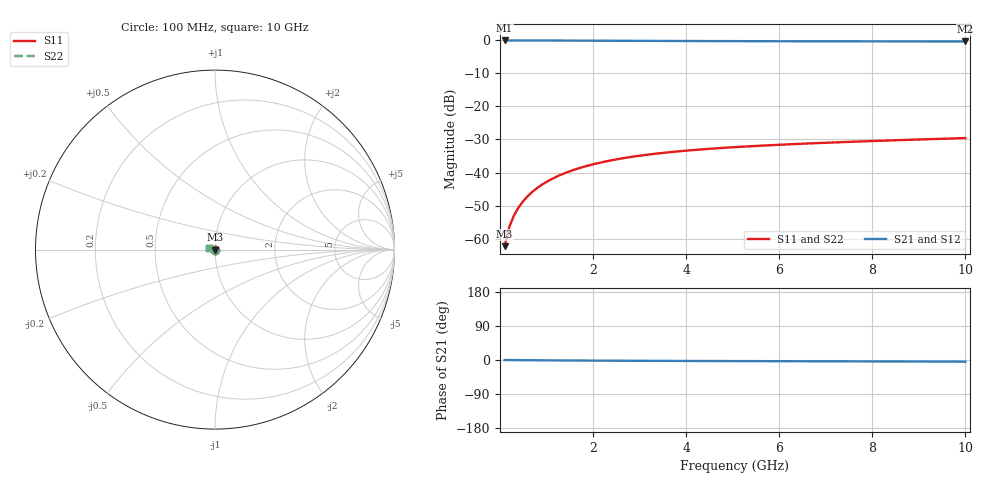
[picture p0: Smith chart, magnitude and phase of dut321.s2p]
! Touchstone file exported from HFSS 2024.1.0
!  File:  C:/UserFiles/LocalFiles/RDL_TSV_Batchsim/temp_TSV1_321_1779616977.aedt
!  Generated:  06:08:34 PM May 24, 2026
!  Design:  TSV1
!  Project:  temp_TSV1_321_1779616977
!  Setup:  Setup1
!  Solution:  Sweep
! Variables:
!  dtsv = 7.46um
!  hbump = 3um
!  htsv = 64.84um
!  lrdl = 252.1521522um
!  p = 40
!  p1 = 46.68um
!  t = 500um
!  trdl = 3um
!  wrdl = 24.89489489um
# GHz S MA R 50.000000
! Terminal data exported
! Port[1] = TSV22_T1
! Port[2] = TSV22_T2
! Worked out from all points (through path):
!   100 points, 100 MHz to 10 GHz, reference 50 ohm
!   highest |S21| = 0.00 dB at 100 MHz (marker M1); lowest = -0.3 dB at 10 GHz (marker M2)
!   lowest |S11| = -62.3 dB at 100 MHz (marker M3), VSWR 1.00, Z = 50 - j0.0739 ohm
!   |S11| at or under -10 dB: start of sweep to end of sweep
!   |S22| runs from -62.3 to -29.6 dB; largest |S21 - S12| = 5.4e-15
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0.1  0.0007663 -74.5  0.9997 -0.1  0.9997 -0.1  0.0007663 -74.5
! Gamma 0 0 0 0
! Port Impedance 50 0 50 0
0.2  0.001496 -84.9  0.9997 -0.2  0.9997 -0.2  0.001496 -84.9
0.3  0.002232 -89.7  0.9995 -0.3  0.9995 -0.3  0.002232 -89.7
0.4  0.002964 -93.1  0.9993 -0.4  0.9993 -0.4  0.002964 -93.1
0.5  0.003692 -95.9  0.9991 -0.5  0.9991 -0.5  0.003692 -95.9
0.6  0.004414 -98.4  0.9988 -0.5  0.9988 -0.5  0.004414 -98.4
0.7  0.005128 -100.7  0.9985 -0.6  0.9985 -0.6  0.005128 -100.7
0.8  0.005832 -102.9  0.9982 -0.7  0.9982 -0.7  0.005832 -102.9
0.9  0.006527 -104.9  0.9978 -0.8  0.9978 -0.8  0.006527 -104.9
1.1  0.007882 -108.9  0.9969 -1.0  0.9969 -1.0  0.007882 -108.9
1.4  0.009818 -114.6  0.9954 -1.2  0.9954 -1.2  0.009818 -114.6
1.6  0.01104 -118.1  0.9942 -1.3  0.9942 -1.3  0.01104 -118.1
1.8  0.0122 -121.5  0.993 -1.5  0.993 -1.5  0.0122 -121.5
2.1  0.01383 -126.4  0.9911 -1.7  0.9911 -1.7  0.01383 -126.4
2.5  0.0158 -132.6  0.9886 -1.9  0.9886 -1.9  0.0158 -132.6
2.9  0.01754 -138.2  0.9862 -2.1  0.9862 -2.1  0.01754 -138.2
3.4  0.01946 -144.7  0.9833 -2.3  0.9833 -2.3  0.01946 -144.7
4.2  0.02201 -153.9  0.9793 -2.6  0.9793 -2.6  0.02201 -153.9
5.1  0.02434 -162.8  0.9756 -2.9  0.9756 -2.9  0.02434 -162.8
6.7  0.02766 -175.8  0.9708 -3.4  0.9708 -3.4  0.02766 -175.8
8.4  0.03063 173.0  0.9675 -3.9  0.9675 -3.9  0.03063 173.0
10  0.03323 164.4  0.9652 -4.3  0.9652 -4.3  0.03323 164.4
